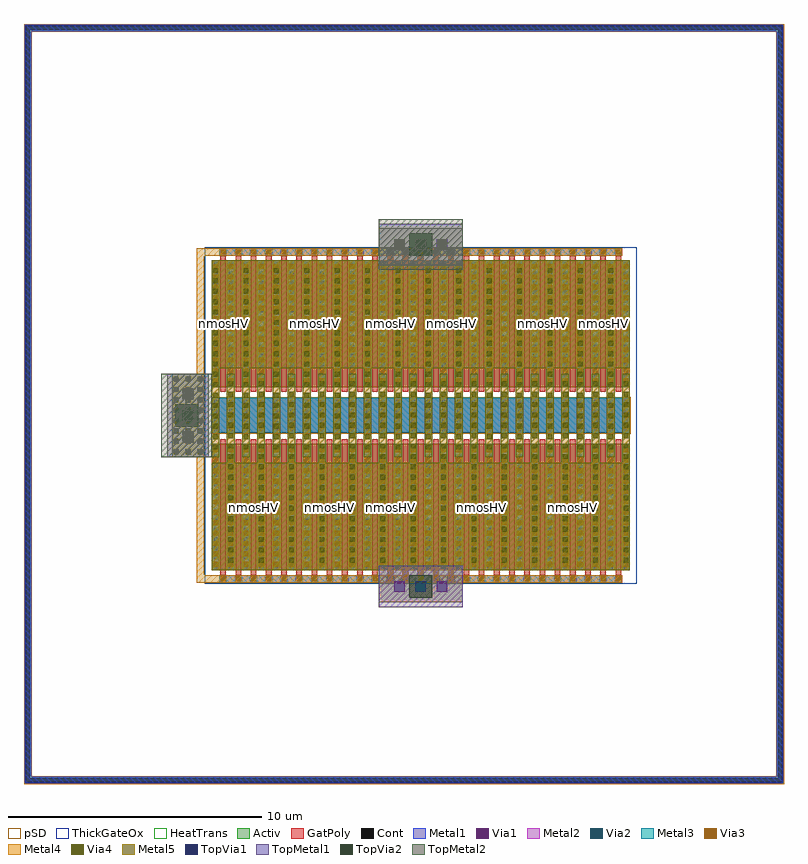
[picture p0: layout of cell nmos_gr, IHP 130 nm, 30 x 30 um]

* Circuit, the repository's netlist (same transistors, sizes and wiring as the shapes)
* Extracted by KLayout with SG13G2 LVS runset on : 16/10/2024 16:00

.SUBCKT nmos_gr S G D 
M1 D G S S sg13_hv_nmos L=0.22u W=5u M=54
.ENDS nmos_gr

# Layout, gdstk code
import gdstk
lib = gdstk.Library(unit=1e-6, precision=1e-09)
def R(c, l, rs):  # rectangles x0, y0, x1, y1
    for r in rs: c.add(gdstk.rectangle(r[:2], r[2:], *l))
def A(c, l, x, y, w, h, nx, ny, dx, dy):  # array of equal rectangles
    R(c, l, [(x+i*dx, y+j*dy, x+i*dx+w, y+j*dy+h) for i in range(nx) for j in range(ny)])
def P(c, l, *ps):  # polygons
    for p in ps: c.add(gdstk.Polygon(p, *l))
Activ = (1, 0)
GatPoly = (5, 0)
Cont = (6, 0)
Metal1 = (8, 0)
Metal2 = (10, 0)
pSD = (14, 0)
Via1 = (19, 0)
Via2 = (29, 0)
Metal3 = (30, 0)
ThickGateOx = (44, 0)
Via3 = (49, 0)
Metal4 = (50, 0)
HeatTrans = (51, 0)
Via4 = (66, 0)
Metal5 = (67, 0)
TopVia1 = (125, 0)
TopMetal1 = (126, 0)
TopVia2 = (133, 0)
TopMetal2 = (134, 0)

gring_1 = lib.new_cell('gring$1')
P(gring_1, Activ, [(0.03,0.03),(0.03,29.72),(0.28,29.72),(0.28,0.28),(29.72,0.28),(29.72,29.72),(0.03,29.72),(0.03,29.97),(29.97,29.97),(29.97,0.03)])
P(gring_1, Cont, [(0.075,0.075),(0.075,29.765),(0.235,29.765),(0.235,0.235),(29.765,0.235),(29.765,29.765),(0.075,29.765),(0.075,29.925),(29.925,29.925),(29.925,0.075)])
P(gring_1, Metal1, [(0.025,0.025),(0.025,29.715),(0.285,29.715),(0.285,0.285),(29.715,0.285),(29.715,29.715),(0.025,29.715),(0.025,29.975),(29.975,29.975),(29.975,0.025)])
P(gring_1, pSD, [(0,0),(0,29.69),(0.31,29.69),(0.31,0.31),(29.69,0.31),(29.69,29.69),(0,29.69),(0,30),(30,30),(30,0)])

nmos_gr = lib.new_cell('nmos_gr')
R(nmos_gr, Activ, [(246.552,-23.306,263.052,-18.306), (246.552,-17.876,263.052,-16.496), (246.552,-16.066,263.052,-11.066)])
P(nmos_gr, GatPoly, [(254.692,-16.246),(254.692,-10.886),(254.652,-10.886),(254.652,-10.586),(254.952,-10.586),(254.952,-10.886),(254.912,-10.886),(254.912,-16.246)],
  [(254.092,-16.246),(254.092,-10.886),(254.052,-10.886),(254.052,-10.586),(254.352,-10.586),(254.352,-10.886),(254.312,-10.886),(254.312,-16.246)],
  [(253.492,-16.246),(253.492,-10.886),(253.452,-10.886),(253.452,-10.586),(253.752,-10.586),(253.752,-10.886),(253.712,-10.886),(253.712,-16.246)],
  [(252.892,-16.246),(252.892,-10.886),(252.852,-10.886),(252.852,-10.586),(253.152,-10.586),(253.152,-10.886),(253.112,-10.886),(253.112,-16.246)],
  [(252.292,-16.246),(252.292,-10.886),(252.252,-10.886),(252.252,-10.586),(252.552,-10.586),(252.552,-10.886),(252.512,-10.886),(252.512,-16.246)],
  [(251.692,-16.246),(251.692,-10.886),(251.652,-10.886),(251.652,-10.586),(251.952,-10.586),(251.952,-10.886),(251.912,-10.886),(251.912,-16.246)],
  [(251.092,-16.246),(251.092,-10.886),(251.052,-10.886),(251.052,-10.586),(251.352,-10.586),(251.352,-10.886),(251.312,-10.886),(251.312,-16.246)],
  [(250.492,-16.246),(250.492,-10.886),(250.452,-10.886),(250.452,-10.586),(250.752,-10.586),(250.752,-10.886),(250.712,-10.886),(250.712,-16.246)],
  [(249.892,-16.246),(249.892,-10.886),(249.852,-10.886),(249.852,-10.586),(250.152,-10.586),(250.152,-10.886),(250.112,-10.886),(250.112,-16.246)],
  [(249.292,-16.246),(249.292,-10.886),(249.252,-10.886),(249.252,-10.586),(249.552,-10.586),(249.552,-10.886),(249.512,-10.886),(249.512,-16.246)],
  [(248.692,-16.246),(248.692,-10.886),(248.652,-10.886),(248.652,-10.586),(248.952,-10.586),(248.952,-10.886),(248.912,-10.886),(248.912,-16.246)],
  [(248.092,-16.246),(248.092,-10.886),(248.052,-10.886),(248.052,-10.586),(248.352,-10.586),(248.352,-10.886),(248.312,-10.886),(248.312,-16.246)],
  [(247.492,-16.246),(247.492,-10.886),(247.452,-10.886),(247.452,-10.586),(247.752,-10.586),(247.752,-10.886),(247.712,-10.886),(247.712,-16.246)],
  [(246.892,-16.246),(246.892,-10.886),(246.852,-10.886),(246.852,-10.586),(247.152,-10.586),(247.152,-10.886),(247.112,-10.886),(247.112,-16.246)],
  [(262.452,-23.786),(262.452,-23.486),(262.492,-23.486),(262.492,-18.126),(262.712,-18.126),(262.712,-23.486),(262.752,-23.486),(262.752,-23.786)],
  [(261.852,-23.786),(261.852,-23.486),(261.892,-23.486),(261.892,-18.126),(262.112,-18.126),(262.112,-23.486),(262.152,-23.486),(262.152,-23.786)],
  [(261.252,-23.786),(261.252,-23.486),(261.292,-23.486),(261.292,-18.126),(261.512,-18.126),(261.512,-23.486),(261.552,-23.486),(261.552,-23.786)],
  [(260.652,-23.786),(260.652,-23.486),(260.692,-23.486),(260.692,-18.126),(260.912,-18.126),(260.912,-23.486),(260.952,-23.486),(260.952,-23.786)],
  [(260.052,-23.786),(260.052,-23.486),(260.092,-23.486),(260.092,-18.126),(260.312,-18.126),(260.312,-23.486),(260.352,-23.486),(260.352,-23.786)],
  [(259.452,-23.786),(259.452,-23.486),(259.492,-23.486),(259.492,-18.126),(259.712,-18.126),(259.712,-23.486),(259.752,-23.486),(259.752,-23.786)],
  [(258.852,-23.786),(258.852,-23.486),(258.892,-23.486),(258.892,-18.126),(259.112,-18.126),(259.112,-23.486),(259.152,-23.486),(259.152,-23.786)],
  [(258.252,-23.786),(258.252,-23.486),(258.292,-23.486),(258.292,-18.126),(258.512,-18.126),(258.512,-23.486),(258.552,-23.486),(258.552,-23.786)],
  [(257.652,-23.786),(257.652,-23.486),(257.692,-23.486),(257.692,-18.126),(257.912,-18.126),(257.912,-23.486),(257.952,-23.486),(257.952,-23.786)],
  [(257.052,-23.786),(257.052,-23.486),(257.092,-23.486),(257.092,-18.126),(257.312,-18.126),(257.312,-23.486),(257.352,-23.486),(257.352,-23.786)],
  [(256.452,-23.786),(256.452,-23.486),(256.492,-23.486),(256.492,-18.126),(256.712,-18.126),(256.712,-23.486),(256.752,-23.486),(256.752,-23.786)],
  [(255.852,-23.786),(255.852,-23.486),(255.892,-23.486),(255.892,-18.126),(256.112,-18.126),(256.112,-23.486),(256.152,-23.486),(256.152,-23.786)],
  [(255.252,-23.786),(255.252,-23.486),(255.292,-23.486),(255.292,-18.126),(255.512,-18.126),(255.512,-23.486),(255.552,-23.486),(255.552,-23.786)],
  [(254.652,-23.786),(254.652,-23.486),(254.692,-23.486),(254.692,-18.126),(254.912,-18.126),(254.912,-23.486),(254.952,-23.486),(254.952,-23.786)],
  [(254.052,-23.786),(254.052,-23.486),(254.092,-23.486),(254.092,-18.126),(254.312,-18.126),(254.312,-23.486),(254.352,-23.486),(254.352,-23.786)],
  [(253.452,-23.786),(253.452,-23.486),(253.492,-23.486),(253.492,-18.126),(253.712,-18.126),(253.712,-23.486),(253.752,-23.486),(253.752,-23.786)],
  [(252.852,-23.786),(252.852,-23.486),(252.892,-23.486),(252.892,-18.126),(253.112,-18.126),(253.112,-23.486),(253.152,-23.486),(253.152,-23.786)],
  [(252.252,-23.786),(252.252,-23.486),(252.292,-23.486),(252.292,-18.126),(252.512,-18.126),(252.512,-23.486),(252.552,-23.486),(252.552,-23.786)],
  [(251.652,-23.786),(251.652,-23.486),(251.692,-23.486),(251.692,-18.126),(251.912,-18.126),(251.912,-23.486),(251.952,-23.486),(251.952,-23.786)],
  [(251.052,-23.786),(251.052,-23.486),(251.092,-23.486),(251.092,-18.126),(251.312,-18.126),(251.312,-23.486),(251.352,-23.486),(251.352,-23.786)],
  [(250.452,-23.786),(250.452,-23.486),(250.492,-23.486),(250.492,-18.126),(250.712,-18.126),(250.712,-23.486),(250.752,-23.486),(250.752,-23.786)],
  [(249.852,-23.786),(249.852,-23.486),(249.892,-23.486),(249.892,-18.126),(250.112,-18.126),(250.112,-23.486),(250.152,-23.486),(250.152,-23.786)],
  [(249.252,-23.786),(249.252,-23.486),(249.292,-23.486),(249.292,-18.126),(249.512,-18.126),(249.512,-23.486),(249.552,-23.486),(249.552,-23.786)],
  [(248.652,-23.786),(248.652,-23.486),(248.692,-23.486),(248.692,-18.126),(248.912,-18.126),(248.912,-23.486),(248.952,-23.486),(248.952,-23.786)],
  [(248.052,-23.786),(248.052,-23.486),(248.092,-23.486),(248.092,-18.126),(248.312,-18.126),(248.312,-23.486),(248.352,-23.486),(248.352,-23.786)],
  [(247.452,-23.786),(247.452,-23.486),(247.492,-23.486),(247.492,-18.126),(247.712,-18.126),(247.712,-23.486),(247.752,-23.486),(247.752,-23.786)],
  [(246.852,-23.786),(246.852,-23.486),(246.892,-23.486),(246.892,-18.126),(247.112,-18.126),(247.112,-23.486),(247.152,-23.486),(247.152,-23.786)],
  [(262.492,-16.246),(262.492,-10.886),(262.452,-10.886),(262.452,-10.586),(262.752,-10.586),(262.752,-10.886),(262.712,-10.886),(262.712,-16.246)],
  [(261.892,-16.246),(261.892,-10.886),(261.852,-10.886),(261.852,-10.586),(262.152,-10.586),(262.152,-10.886),(262.112,-10.886),(262.112,-16.246)],
  [(261.292,-16.246),(261.292,-10.886),(261.252,-10.886),(261.252,-10.586),(261.552,-10.586),(261.552,-10.886),(261.512,-10.886),(261.512,-16.246)],
  [(260.692,-16.246),(260.692,-10.886),(260.652,-10.886),(260.652,-10.586),(260.952,-10.586),(260.952,-10.886),(260.912,-10.886),(260.912,-16.246)],
  [(260.092,-16.246),(260.092,-10.886),(260.052,-10.886),(260.052,-10.586),(260.352,-10.586),(260.352,-10.886),(260.312,-10.886),(260.312,-16.246)],
  [(259.492,-16.246),(259.492,-10.886),(259.452,-10.886),(259.452,-10.586),(259.752,-10.586),(259.752,-10.886),(259.712,-10.886),(259.712,-16.246)],
  [(258.892,-16.246),(258.892,-10.886),(258.852,-10.886),(258.852,-10.586),(259.152,-10.586),(259.152,-10.886),(259.112,-10.886),(259.112,-16.246)],
  [(258.292,-16.246),(258.292,-10.886),(258.252,-10.886),(258.252,-10.586),(258.552,-10.586),(258.552,-10.886),(258.512,-10.886),(258.512,-16.246)],
  [(257.692,-16.246),(257.692,-10.886),(257.652,-10.886),(257.652,-10.586),(257.952,-10.586),(257.952,-10.886),(257.912,-10.886),(257.912,-16.246)],
  [(257.092,-16.246),(257.092,-10.886),(257.052,-10.886),(257.052,-10.586),(257.352,-10.586),(257.352,-10.886),(257.312,-10.886),(257.312,-16.246)],
  [(256.492,-16.246),(256.492,-10.886),(256.452,-10.886),(256.452,-10.586),(256.752,-10.586),(256.752,-10.886),(256.712,-10.886),(256.712,-16.246)],
  [(255.892,-16.246),(255.892,-10.886),(255.852,-10.886),(255.852,-10.586),(256.152,-10.586),(256.152,-10.886),(256.112,-10.886),(256.112,-16.246)],
  [(255.292,-16.246),(255.292,-10.886),(255.252,-10.886),(255.252,-10.586),(255.552,-10.586),(255.552,-10.886),(255.512,-10.886),(255.512,-16.246)])
A(nmos_gr, Cont, 246.922, -23.716, 0.16, 0.16, 27, 2, 0.6, 12.9)
A(nmos_gr, Cont, 246.622, -23.236, 0.16, 0.16, 28, 2, 0.6, 0.365)
A(nmos_gr, Cont, 246.622, -22.511, 0.16, 0.16, 28, 2, 0.6, 0.36)
A(nmos_gr, Cont, 246.622, -21.786, 0.16, 0.16, 28, 3, 0.6, 0.36)
A(nmos_gr, Cont, 246.622, -20.701, 0.16, 0.16, 28, 3, 0.6, 0.36)
A(nmos_gr, Cont, 246.622, -19.616, 0.16, 0.16, 28, 4, 0.6, 0.36)
A(nmos_gr, Cont, 246.622, -17.806, 0.16, 0.16, 28, 4, 0.6, 0.36)
A(nmos_gr, Cont, 246.622, -15.996, 0.16, 0.16, 28, 4, 0.6, 0.36)
A(nmos_gr, Cont, 246.622, -14.551, 0.16, 0.16, 28, 3, 0.6, 0.36)
A(nmos_gr, Cont, 246.622, -13.466, 0.16, 0.16, 28, 3, 0.6, 0.36)
A(nmos_gr, Cont, 246.622, -12.381, 0.16, 0.16, 28, 3, 0.6, 0.36)
A(nmos_gr, Cont, 246.622, -11.296, 0.16, 0.16, 28, 1, 0.6, 0)
A(nmos_gr, Metal1, 246.852, -23.786, 0.3, 0.3, 27, 2, 0.6, 12.9)
A(nmos_gr, Metal1, 246.552, -23.306, 0.3, 5, 28, 2, 0.6, 7.24)
R(nmos_gr, Metal1, [(246.552,-17.876,263.052,-16.496)])
A(nmos_gr, Metal2, 246.552, -23.306, 0.3, 5, 28, 2, 0.6, 7.24)
R(nmos_gr, Metal2, [(246.852,-23.786,262.752,-23.486), (246.552,-17.876,263.052,-16.496), (246.852,-10.886,262.752,-10.586)])
R(nmos_gr, pSD, [(246.522,-17.906,263.082,-16.466)])
A(nmos_gr, Via1, 246.907, -23.731, 0.19, 0.19, 27, 2, 0.6, 12.9)
A(nmos_gr, Via1, 246.607, -23.156, 0.19, 0.19, 28, 12, 0.6, 0.41)
A(nmos_gr, Via1, 246.607, -17.691, 0.19, 0.19, 28, 3, 0.6, 0.41)
A(nmos_gr, Via1, 246.607, -15.916, 0.19, 0.19, 28, 12, 0.6, 0.41)
A(nmos_gr, Via2, 246.907, -23.731, 0.19, 0.19, 27, 2, 0.6, 12.9)
A(nmos_gr, Via2, 246.607, -23.156, 0.19, 0.19, 28, 12, 0.6, 0.41)
A(nmos_gr, Via2, 246.607, -17.691, 0.19, 0.19, 28, 3, 0.6, 0.41)
A(nmos_gr, Via2, 246.607, -15.916, 0.19, 0.19, 28, 12, 0.6, 0.41)
A(nmos_gr, Metal3, 246.552, -23.306, 0.3, 5, 28, 2, 0.6, 7.24)
R(nmos_gr, Metal3, [(246.852,-23.786,262.752,-23.486), (246.552,-17.876,263.052,-16.496), (246.852,-10.886,262.752,-10.586)])
R(nmos_gr, ThickGateOx, [(246.282,-23.826,263.322,-10.546)])
A(nmos_gr, Via3, 246.907, -23.731, 0.19, 0.19, 27, 2, 0.6, 12.9)
A(nmos_gr, Via3, 246.607, -23.156, 0.19, 0.19, 28, 12, 0.6, 0.41)
A(nmos_gr, Via3, 247.207, -17.691, 0.19, 0.19, 14, 3, 1.2, 0.41)
A(nmos_gr, Via3, 246.607, -15.916, 0.19, 0.19, 28, 12, 0.6, 0.41)
A(nmos_gr, Metal4, 246.552, -23.306, 0.3, 12.24, 28, 1, 0.6, 0)
R(nmos_gr, Metal4, [(244.992,-18.836,246.252,-15.536)])
P(nmos_gr, Metal4, [(245.952,-23.786),(245.952,-10.586),(262.752,-10.586),(262.752,-10.886),(246.252,-10.886),(246.252,-23.486),(262.752,-23.486),(262.752,-23.786)])
A(nmos_gr, HeatTrans, 246.892, -23.486, 0.22, 5.36, 27, 2, 0.6, 7.24)
A(nmos_gr, Via4, 247.207, -23.001, 0.19, 0.19, 14, 18, 1.2, 0.41)
A(nmos_gr, Via4, 245.047, -18.716, 0.19, 0.19, 3, 8, 0.48, 0.41)
A(nmos_gr, Via4, 246.607, -18.531, 0.19, 0.19, 14, 18, 1.2, 0.41)
R(nmos_gr, Metal5, [(253.152,-24.566,256.452,-23.306), (244.992,-18.836,246.252,-15.536), (253.152,-11.066,256.452,-9.806)])
P(nmos_gr, Metal5, [(246.552,-18.836),(246.552,-11.066),(263.052,-11.066),(263.052,-15.316),(262.452,-15.316),(262.452,-18.836),(262.152,-18.836),(262.152,-15.316),(261.252,-15.316),(261.252,-18.836),(260.952,-18.836),(260.952,-15.316),(260.052,-15.316),(260.052,-18.836),(259.752,-18.836),(259.752,-15.316),(258.852,-15.316),(258.852,-18.836),(258.552,-18.836),(258.552,-15.316),(257.652,-15.316),(257.652,-18.836),(257.352,-18.836),(257.352,-15.316),(256.452,-15.316),(256.452,-18.836),(256.152,-18.836),(256.152,-15.316),(255.252,-15.316),(255.252,-18.836),(254.952,-18.836),(254.952,-15.316),(254.052,-15.316),(254.052,-18.836),(253.752,-18.836),(253.752,-15.316),(252.852,-15.316),(252.852,-18.836),(252.552,-18.836),(252.552,-15.316),(251.652,-15.316),(251.652,-18.836),(251.352,-18.836),(251.352,-15.316),(250.452,-15.316),(250.452,-18.836),(250.152,-18.836),(250.152,-15.316),(249.252,-15.316),(249.252,-18.836),(248.952,-18.836),(248.952,-15.316),(248.052,-15.316),(248.052,-18.836),(247.752,-18.836),(247.752,-15.316),(246.852,-15.316),(246.852,-18.836)],
  [(246.552,-23.306),(246.552,-19.056),(247.152,-19.056),(247.152,-15.536),(247.452,-15.536),(247.452,-19.056),(248.352,-19.056),(248.352,-15.536),(248.652,-15.536),(248.652,-19.056),(249.552,-19.056),(249.552,-15.536),(249.852,-15.536),(249.852,-19.056),(250.752,-19.056),(250.752,-15.536),(251.052,-15.536),(251.052,-19.056),(251.952,-19.056),(251.952,-15.536),(252.252,-15.536),(252.252,-19.056),(253.152,-19.056),(253.152,-15.536),(253.452,-15.536),(253.452,-19.056),(254.352,-19.056),(254.352,-15.536),(254.652,-15.536),(254.652,-19.056),(255.552,-19.056),(255.552,-15.536),(255.852,-15.536),(255.852,-19.056),(256.752,-19.056),(256.752,-15.536),(257.052,-15.536),(257.052,-19.056),(257.952,-19.056),(257.952,-15.536),(258.252,-15.536),(258.252,-19.056),(259.152,-19.056),(259.152,-15.536),(259.452,-15.536),(259.452,-19.056),(260.352,-19.056),(260.352,-15.536),(260.652,-15.536),(260.652,-19.056),(261.552,-19.056),(261.552,-15.536),(261.852,-15.536),(261.852,-19.056),(262.752,-19.056),(262.752,-15.536),(263.052,-15.536),(263.052,-23.306)])
A(nmos_gr, TopVia1, 253.752, -24.146, 0.42, 0.42, 3, 2, 0.84, 13.5)
A(nmos_gr, TopVia1, 245.412, -18.236, 0.42, 0.42, 1, 3, 0, 0.84)
R(nmos_gr, TopMetal1, [(253.152,-24.756,256.452,-23.116), (244.802,-18.836,246.442,-15.536), (253.152,-11.256,256.452,-9.616)])
R(nmos_gr, TopVia2, [(254.352,-24.386,255.252,-23.486), (245.109,-17.636,246.009,-16.736), (254.352,-10.886,255.252,-9.986)])
R(nmos_gr, TopMetal2, [(244.559,-18.836,246.559,-15.536), (253.152,-11.436,256.452,-9.436)])
nmos_gr.add(gdstk.Reference(gring_1, (239.14,-31.735)))
nmos_gr.add(gdstk.Label('nmosHV', (259.602,-13.566), layer=51, texttype=0))
nmos_gr.add(gdstk.Label('nmosHV', (259.002,-13.566), layer=51, texttype=0))
nmos_gr.add(gdstk.Label('nmosHV', (262.002,-13.566), layer=51, texttype=0))
nmos_gr.add(gdstk.Label('nmosHV', (261.402,-13.566), layer=51, texttype=0))
nmos_gr.add(gdstk.Label('nmosHV', (260.802,-13.566), layer=51, texttype=0))
nmos_gr.add(gdstk.Label('nmosHV', (260.202,-13.566), layer=51, texttype=0))
nmos_gr.add(gdstk.Label('nmosHV', (262.002,-13.566), layer=51, texttype=0))
nmos_gr.add(gdstk.Label('nmosHV', (259.602,-13.566), layer=51, texttype=0))
nmos_gr.add(gdstk.Label('nmosHV', (261.402,-13.566), layer=51, texttype=0))
nmos_gr.add(gdstk.Label('nmosHV', (259.002,-13.566), layer=51, texttype=0))
nmos_gr.add(gdstk.Label('nmosHV', (260.802,-13.566), layer=51, texttype=0))
nmos_gr.add(gdstk.Label('nmosHV', (260.802,-13.566), layer=51, texttype=0))
nmos_gr.add(gdstk.Label('nmosHV', (260.202,-13.566), layer=51, texttype=0))
nmos_gr.add(gdstk.Label('nmosHV', (260.202,-13.566), layer=51, texttype=0))
nmos_gr.add(gdstk.Label('nmosHV', (259.602,-13.566), layer=51, texttype=0))
nmos_gr.add(gdstk.Label('nmosHV', (259.002,-13.566), layer=51, texttype=0))
nmos_gr.add(gdstk.Label('nmosHV', (260.802,-13.566), layer=51, texttype=0))
nmos_gr.add(gdstk.Label('nmosHV', (262.002,-13.566), layer=51, texttype=0))
nmos_gr.add(gdstk.Label('nmosHV', (261.402,-13.566), layer=51, texttype=0))
nmos_gr.add(gdstk.Label('nmosHV', (262.002,-13.566), layer=51, texttype=0))
nmos_gr.add(gdstk.Label('nmosHV', (259.602,-13.566), layer=51, texttype=0))
nmos_gr.add(gdstk.Label('nmosHV', (259.002,-13.566), layer=51, texttype=0))
nmos_gr.add(gdstk.Label('nmosHV', (259.602,-13.566), layer=51, texttype=0))
nmos_gr.add(gdstk.Label('nmosHV', (259.002,-13.566), layer=51, texttype=0))
nmos_gr.add(gdstk.Label('nmosHV', (260.202,-13.566), layer=51, texttype=0))
nmos_gr.add(gdstk.Label('nmosHV', (261.402,-13.566), layer=51, texttype=0))
nmos_gr.add(gdstk.Label('nmosHV', (262.002,-13.566), layer=51, texttype=0))
nmos_gr.add(gdstk.Label('nmosHV', (261.402,-13.566), layer=51, texttype=0))
nmos_gr.add(gdstk.Label('nmosHV', (260.802,-13.566), layer=51, texttype=0))
nmos_gr.add(gdstk.Label('nmosHV', (260.202,-13.566), layer=51, texttype=0))
nmos_gr.add(gdstk.Label('nmosHV', (259.602,-13.566), layer=51, texttype=0))
nmos_gr.add(gdstk.Label('nmosHV', (262.002,-13.566), layer=51, texttype=0))
nmos_gr.add(gdstk.Label('nmosHV', (259.002,-13.566), layer=51, texttype=0))
nmos_gr.add(gdstk.Label('nmosHV', (261.402,-13.566), layer=51, texttype=0))
nmos_gr.add(gdstk.Label('nmosHV', (260.802,-13.566), layer=51, texttype=0))
nmos_gr.add(gdstk.Label('nmosHV', (260.202,-13.566), layer=51, texttype=0))
nmos_gr.add(gdstk.Label('nmosHV', (256.002,-13.566), layer=51, texttype=0))
nmos_gr.add(gdstk.Label('nmosHV', (257.802,-13.566), layer=51, texttype=0))
nmos_gr.add(gdstk.Label('nmosHV', (258.402,-13.566), layer=51, texttype=0))
nmos_gr.add(gdstk.Label('nmosHV', (257.802,-13.566), layer=51, texttype=0))
nmos_gr.add(gdstk.Label('nmosHV', (257.802,-13.566), layer=51, texttype=0))
nmos_gr.add(gdstk.Label('nmosHV', (257.202,-13.566), layer=51, texttype=0))
nmos_gr.add(gdstk.Label('nmosHV', (257.202,-13.566), layer=51, texttype=0))
nmos_gr.add(gdstk.Label('nmosHV', (258.402,-13.566), layer=51, texttype=0))
nmos_gr.add(gdstk.Label('nmosHV', (255.402,-13.566), layer=51, texttype=0))
nmos_gr.add(gdstk.Label('nmosHV', (255.402,-13.566), layer=51, texttype=0))
nmos_gr.add(gdstk.Label('nmosHV', (256.002,-13.566), layer=51, texttype=0))
nmos_gr.add(gdstk.Label('nmosHV', (255.402,-13.566), layer=51, texttype=0))
nmos_gr.add(gdstk.Label('nmosHV', (255.402,-13.566), layer=51, texttype=0))
nmos_gr.add(gdstk.Label('nmosHV', (258.402,-13.566), layer=51, texttype=0))
nmos_gr.add(gdstk.Label('nmosHV', (255.402,-13.566), layer=51, texttype=0))
nmos_gr.add(gdstk.Label('nmosHV', (255.402,-13.566), layer=51, texttype=0))
nmos_gr.add(gdstk.Label('nmosHV', (256.602,-13.566), layer=51, texttype=0))
nmos_gr.add(gdstk.Label('nmosHV', (257.802,-13.566), layer=51, texttype=0))
nmos_gr.add(gdstk.Label('nmosHV', (256.002,-13.566), layer=51, texttype=0))
nmos_gr.add(gdstk.Label('nmosHV', (256.602,-13.566), layer=51, texttype=0))
nmos_gr.add(gdstk.Label('nmosHV', (257.202,-13.566), layer=51, texttype=0))
nmos_gr.add(gdstk.Label('nmosHV', (256.602,-13.566), layer=51, texttype=0))
nmos_gr.add(gdstk.Label('nmosHV', (256.002,-13.566), layer=51, texttype=0))
nmos_gr.add(gdstk.Label('nmosHV', (256.002,-13.566), layer=51, texttype=0))
nmos_gr.add(gdstk.Label('nmosHV', (257.202,-13.566), layer=51, texttype=0))
nmos_gr.add(gdstk.Label('nmosHV', (258.402,-13.566), layer=51, texttype=0))
nmos_gr.add(gdstk.Label('nmosHV', (256.602,-13.566), layer=51, texttype=0))
nmos_gr.add(gdstk.Label('nmosHV', (258.402,-13.566), layer=51, texttype=0))
nmos_gr.add(gdstk.Label('nmosHV', (256.002,-13.566), layer=51, texttype=0))
nmos_gr.add(gdstk.Label('nmosHV', (257.802,-13.566), layer=51, texttype=0))
nmos_gr.add(gdstk.Label('nmosHV', (257.202,-13.566), layer=51, texttype=0))
nmos_gr.add(gdstk.Label('nmosHV', (258.402,-13.566), layer=51, texttype=0))
nmos_gr.add(gdstk.Label('nmosHV', (256.602,-13.566), layer=51, texttype=0))
nmos_gr.add(gdstk.Label('nmosHV', (257.802,-13.566), layer=51, texttype=0))
nmos_gr.add(gdstk.Label('nmosHV', (256.602,-13.566), layer=51, texttype=0))
nmos_gr.add(gdstk.Label('nmosHV', (257.202,-13.566), layer=51, texttype=0))
nmos_gr.add(gdstk.Label('nmosHV', (254.802,-13.566), layer=51, texttype=0))
nmos_gr.add(gdstk.Label('nmosHV', (254.802,-13.566), layer=51, texttype=0))
nmos_gr.add(gdstk.Label('nmosHV', (254.802,-13.566), layer=51, texttype=0))
nmos_gr.add(gdstk.Label('nmosHV', (254.802,-13.566), layer=51, texttype=0))
nmos_gr.add(gdstk.Label('nmosHV', (254.802,-13.566), layer=51, texttype=0))
nmos_gr.add(gdstk.Label('nmosHV', (254.802,-13.566), layer=51, texttype=0))
nmos_gr.add(gdstk.Label('nmosHV', (247.002,-13.566), layer=51, texttype=0))
nmos_gr.add(gdstk.Label('nmosHV', (248.802,-13.566), layer=51, texttype=0))
nmos_gr.add(gdstk.Label('nmosHV', (248.202,-13.566), layer=51, texttype=0))
nmos_gr.add(gdstk.Label('nmosHV', (250.602,-13.566), layer=51, texttype=0))
nmos_gr.add(gdstk.Label('nmosHV', (253.602,-13.566), layer=51, texttype=0))
nmos_gr.add(gdstk.Label('nmosHV', (251.202,-13.566), layer=51, texttype=0))
nmos_gr.add(gdstk.Label('nmosHV', (251.802,-13.566), layer=51, texttype=0))
nmos_gr.add(gdstk.Label('nmosHV', (252.402,-13.566), layer=51, texttype=0))
nmos_gr.add(gdstk.Label('nmosHV', (252.402,-13.566), layer=51, texttype=0))
nmos_gr.add(gdstk.Label('nmosHV', (253.002,-13.566), layer=51, texttype=0))
nmos_gr.add(gdstk.Label('nmosHV', (251.202,-13.566), layer=51, texttype=0))
nmos_gr.add(gdstk.Label('nmosHV', (252.402,-13.566), layer=51, texttype=0))
nmos_gr.add(gdstk.Label('nmosHV', (253.002,-13.566), layer=51, texttype=0))
nmos_gr.add(gdstk.Label('nmosHV', (251.802,-13.566), layer=51, texttype=0))
nmos_gr.add(gdstk.Label('nmosHV', (251.202,-13.566), layer=51, texttype=0))
nmos_gr.add(gdstk.Label('nmosHV', (252.402,-13.566), layer=51, texttype=0))
nmos_gr.add(gdstk.Label('nmosHV', (251.202,-13.566), layer=51, texttype=0))
nmos_gr.add(gdstk.Label('nmosHV', (253.602,-13.566), layer=51, texttype=0))
nmos_gr.add(gdstk.Label('nmosHV', (251.802,-13.566), layer=51, texttype=0))
nmos_gr.add(gdstk.Label('nmosHV', (252.402,-13.566), layer=51, texttype=0))
nmos_gr.add(gdstk.Label('nmosHV', (251.802,-13.566), layer=51, texttype=0))
nmos_gr.add(gdstk.Label('nmosHV', (253.602,-13.566), layer=51, texttype=0))
nmos_gr.add(gdstk.Label('nmosHV', (251.802,-13.566), layer=51, texttype=0))
nmos_gr.add(gdstk.Label('nmosHV', (252.402,-13.566), layer=51, texttype=0))
nmos_gr.add(gdstk.Label('nmosHV', (251.202,-13.566), layer=51, texttype=0))
nmos_gr.add(gdstk.Label('nmosHV', (253.002,-13.566), layer=51, texttype=0))
nmos_gr.add(gdstk.Label('nmosHV', (253.602,-13.566), layer=51, texttype=0))
nmos_gr.add(gdstk.Label('nmosHV', (253.002,-13.566), layer=51, texttype=0))
nmos_gr.add(gdstk.Label('nmosHV', (253.602,-13.566), layer=51, texttype=0))
nmos_gr.add(gdstk.Label('nmosHV', (253.002,-13.566), layer=51, texttype=0))
nmos_gr.add(gdstk.Label('nmosHV', (251.802,-13.566), layer=51, texttype=0))
nmos_gr.add(gdstk.Label('nmosHV', (253.602,-13.566), layer=51, texttype=0))
nmos_gr.add(gdstk.Label('nmosHV', (251.202,-13.566), layer=51, texttype=0))
nmos_gr.add(gdstk.Label('nmosHV', (253.002,-13.566), layer=51, texttype=0))
nmos_gr.add(gdstk.Label('nmosHV', (254.202,-13.566), layer=51, texttype=0))
nmos_gr.add(gdstk.Label('nmosHV', (254.202,-13.566), layer=51, texttype=0))
nmos_gr.add(gdstk.Label('nmosHV', (249.402,-13.566), layer=51, texttype=0))
nmos_gr.add(gdstk.Label('nmosHV', (254.202,-13.566), layer=51, texttype=0))
nmos_gr.add(gdstk.Label('nmosHV', (250.602,-13.566), layer=51, texttype=0))
nmos_gr.add(gdstk.Label('nmosHV', (248.802,-13.566), layer=51, texttype=0))
nmos_gr.add(gdstk.Label('nmosHV', (248.802,-13.566), layer=51, texttype=0))
nmos_gr.add(gdstk.Label('nmosHV', (247.002,-13.566), layer=51, texttype=0))
nmos_gr.add(gdstk.Label('nmosHV', (254.202,-13.566), layer=51, texttype=0))
nmos_gr.add(gdstk.Label('nmosHV', (250.002,-13.566), layer=51, texttype=0))
nmos_gr.add(gdstk.Label('nmosHV', (254.202,-13.566), layer=51, texttype=0))
nmos_gr.add(gdstk.Label('nmosHV', (254.202,-13.566), layer=51, texttype=0))
nmos_gr.add(gdstk.Label('nmosHV', (248.202,-13.566), layer=51, texttype=0))
nmos_gr.add(gdstk.Label('nmosHV', (249.402,-13.566), layer=51, texttype=0))
nmos_gr.add(gdstk.Label('nmosHV', (247.602,-13.566), layer=51, texttype=0))
nmos_gr.add(gdstk.Label('nmosHV', (249.402,-13.566), layer=51, texttype=0))
nmos_gr.add(gdstk.Label('nmosHV', (249.402,-13.566), layer=51, texttype=0))
nmos_gr.add(gdstk.Label('nmosHV', (248.202,-13.566), layer=51, texttype=0))
nmos_gr.add(gdstk.Label('nmosHV', (250.602,-13.566), layer=51, texttype=0))
nmos_gr.add(gdstk.Label('nmosHV', (248.202,-13.566), layer=51, texttype=0))
nmos_gr.add(gdstk.Label('nmosHV', (250.602,-13.566), layer=51, texttype=0))
nmos_gr.add(gdstk.Label('nmosHV', (247.602,-13.566), layer=51, texttype=0))
nmos_gr.add(gdstk.Label('nmosHV', (250.002,-13.566), layer=51, texttype=0))
nmos_gr.add(gdstk.Label('nmosHV', (249.402,-13.566), layer=51, texttype=0))
nmos_gr.add(gdstk.Label('nmosHV', (250.602,-13.566), layer=51, texttype=0))
nmos_gr.add(gdstk.Label('nmosHV', (248.802,-13.566), layer=51, texttype=0))
nmos_gr.add(gdstk.Label('nmosHV', (247.602,-13.566), layer=51, texttype=0))
nmos_gr.add(gdstk.Label('nmosHV', (248.802,-13.566), layer=51, texttype=0))
nmos_gr.add(gdstk.Label('nmosHV', (247.002,-13.566), layer=51, texttype=0))
nmos_gr.add(gdstk.Label('nmosHV', (247.602,-13.566), layer=51, texttype=0))
nmos_gr.add(gdstk.Label('nmosHV', (247.002,-13.566), layer=51, texttype=0))
nmos_gr.add(gdstk.Label('nmosHV', (250.002,-13.566), layer=51, texttype=0))
nmos_gr.add(gdstk.Label('nmosHV', (250.002,-13.566), layer=51, texttype=0))
nmos_gr.add(gdstk.Label('nmosHV', (247.002,-13.566), layer=51, texttype=0))
nmos_gr.add(gdstk.Label('nmosHV', (249.402,-13.566), layer=51, texttype=0))
nmos_gr.add(gdstk.Label('nmosHV', (250.602,-13.566), layer=51, texttype=0))
nmos_gr.add(gdstk.Label('nmosHV', (250.002,-13.566), layer=51, texttype=0))
nmos_gr.add(gdstk.Label('nmosHV', (248.202,-13.566), layer=51, texttype=0))
nmos_gr.add(gdstk.Label('nmosHV', (247.602,-13.566), layer=51, texttype=0))
nmos_gr.add(gdstk.Label('nmosHV', (247.002,-13.566), layer=51, texttype=0))
nmos_gr.add(gdstk.Label('nmosHV', (248.802,-13.566), layer=51, texttype=0))
nmos_gr.add(gdstk.Label('nmosHV', (250.002,-13.566), layer=51, texttype=0))
nmos_gr.add(gdstk.Label('nmosHV', (247.602,-13.566), layer=51, texttype=0))
nmos_gr.add(gdstk.Label('nmosHV', (248.202,-13.566), layer=51, texttype=0))
nmos_gr.add(gdstk.Label('nmosHV', (253.602,-20.806), layer=51, texttype=0))
nmos_gr.add(gdstk.Label('nmosHV', (254.202,-20.806), layer=51, texttype=0))
nmos_gr.add(gdstk.Label('nmosHV', (251.802,-20.806), layer=51, texttype=0))
nmos_gr.add(gdstk.Label('nmosHV', (254.202,-20.806), layer=51, texttype=0))
nmos_gr.add(gdstk.Label('nmosHV', (253.002,-20.806), layer=51, texttype=0))
nmos_gr.add(gdstk.Label('nmosHV', (253.602,-20.806), layer=51, texttype=0))
nmos_gr.add(gdstk.Label('nmosHV', (254.202,-20.806), layer=51, texttype=0))
nmos_gr.add(gdstk.Label('nmosHV', (251.202,-20.806), layer=51, texttype=0))
nmos_gr.add(gdstk.Label('nmosHV', (253.002,-20.806), layer=51, texttype=0))
nmos_gr.add(gdstk.Label('nmosHV', (251.202,-20.806), layer=51, texttype=0))
nmos_gr.add(gdstk.Label('nmosHV', (249.402,-20.806), layer=51, texttype=0))
nmos_gr.add(gdstk.Label('nmosHV', (250.602,-20.806), layer=51, texttype=0))
nmos_gr.add(gdstk.Label('nmosHV', (248.202,-20.806), layer=51, texttype=0))
nmos_gr.add(gdstk.Label('nmosHV', (247.602,-20.806), layer=51, texttype=0))
nmos_gr.add(gdstk.Label('nmosHV', (247.602,-20.806), layer=51, texttype=0))
nmos_gr.add(gdstk.Label('nmosHV', (250.002,-20.806), layer=51, texttype=0))
nmos_gr.add(gdstk.Label('nmosHV', (248.802,-20.806), layer=51, texttype=0))
nmos_gr.add(gdstk.Label('nmosHV', (250.002,-20.806), layer=51, texttype=0))
nmos_gr.add(gdstk.Label('nmosHV', (247.002,-20.806), layer=51, texttype=0))
nmos_gr.add(gdstk.Label('nmosHV', (248.202,-20.806), layer=51, texttype=0))
nmos_gr.add(gdstk.Label('nmosHV', (250.602,-20.806), layer=51, texttype=0))
nmos_gr.add(gdstk.Label('nmosHV', (248.802,-20.806), layer=51, texttype=0))
nmos_gr.add(gdstk.Label('nmosHV', (248.202,-20.806), layer=51, texttype=0))
nmos_gr.add(gdstk.Label('nmosHV', (250.002,-20.806), layer=51, texttype=0))
nmos_gr.add(gdstk.Label('nmosHV', (249.402,-20.806), layer=51, texttype=0))
nmos_gr.add(gdstk.Label('nmosHV', (250.602,-20.806), layer=51, texttype=0))
nmos_gr.add(gdstk.Label('nmosHV', (249.402,-20.806), layer=51, texttype=0))
nmos_gr.add(gdstk.Label('nmosHV', (250.002,-20.806), layer=51, texttype=0))
nmos_gr.add(gdstk.Label('nmosHV', (247.002,-20.806), layer=51, texttype=0))
nmos_gr.add(gdstk.Label('nmosHV', (249.402,-20.806), layer=51, texttype=0))
nmos_gr.add(gdstk.Label('nmosHV', (248.802,-20.806), layer=51, texttype=0))
nmos_gr.add(gdstk.Label('nmosHV', (248.802,-20.806), layer=51, texttype=0))
nmos_gr.add(gdstk.Label('nmosHV', (248.802,-20.806), layer=51, texttype=0))
nmos_gr.add(gdstk.Label('nmosHV', (247.602,-20.806), layer=51, texttype=0))
nmos_gr.add(gdstk.Label('nmosHV', (250.002,-20.806), layer=51, texttype=0))
nmos_gr.add(gdstk.Label('nmosHV', (249.402,-20.806), layer=51, texttype=0))
nmos_gr.add(gdstk.Label('nmosHV', (248.802,-20.806), layer=51, texttype=0))
nmos_gr.add(gdstk.Label('nmosHV', (250.602,-20.806), layer=51, texttype=0))
nmos_gr.add(gdstk.Label('nmosHV', (247.002,-20.806), layer=51, texttype=0))
nmos_gr.add(gdstk.Label('nmosHV', (250.602,-20.806), layer=51, texttype=0))
nmos_gr.add(gdstk.Label('nmosHV', (247.002,-20.806), layer=51, texttype=0))
nmos_gr.add(gdstk.Label('nmosHV', (247.602,-20.806), layer=51, texttype=0))
nmos_gr.add(gdstk.Label('nmosHV', (247.602,-20.806), layer=51, texttype=0))
nmos_gr.add(gdstk.Label('nmosHV', (248.202,-20.806), layer=51, texttype=0))
nmos_gr.add(gdstk.Label('nmosHV', (250.002,-20.806), layer=51, texttype=0))
nmos_gr.add(gdstk.Label('nmosHV', (250.602,-20.806), layer=51, texttype=0))
nmos_gr.add(gdstk.Label('nmosHV', (247.002,-20.806), layer=51, texttype=0))
nmos_gr.add(gdstk.Label('nmosHV', (247.002,-20.806), layer=51, texttype=0))
nmos_gr.add(gdstk.Label('nmosHV', (248.202,-20.806), layer=51, texttype=0))
nmos_gr.add(gdstk.Label('nmosHV', (249.402,-20.806), layer=51, texttype=0))
nmos_gr.add(gdstk.Label('nmosHV', (248.202,-20.806), layer=51, texttype=0))
nmos_gr.add(gdstk.Label('nmosHV', (247.602,-20.806), layer=51, texttype=0))
nmos_gr.add(gdstk.Label('nmosHV', (252.402,-20.806), layer=51, texttype=0))
nmos_gr.add(gdstk.Label('nmosHV', (254.202,-20.806), layer=51, texttype=0))
nmos_gr.add(gdstk.Label('nmosHV', (251.802,-20.806), layer=51, texttype=0))
nmos_gr.add(gdstk.Label('nmosHV', (253.602,-20.806), layer=51, texttype=0))
nmos_gr.add(gdstk.Label('nmosHV', (252.402,-20.806), layer=51, texttype=0))
nmos_gr.add(gdstk.Label('nmosHV', (251.202,-20.806), layer=51, texttype=0))
nmos_gr.add(gdstk.Label('nmosHV', (253.002,-20.806), layer=51, texttype=0))
nmos_gr.add(gdstk.Label('nmosHV', (252.402,-20.806), layer=51, texttype=0))
nmos_gr.add(gdstk.Label('nmosHV', (253.602,-20.806), layer=51, texttype=0))
nmos_gr.add(gdstk.Label('nmosHV', (251.202,-20.806), layer=51, texttype=0))
nmos_gr.add(gdstk.Label('nmosHV', (253.602,-20.806), layer=51, texttype=0))
nmos_gr.add(gdstk.Label('nmosHV', (251.802,-20.806), layer=51, texttype=0))
nmos_gr.add(gdstk.Label('nmosHV', (253.002,-20.806), layer=51, texttype=0))
nmos_gr.add(gdstk.Label('nmosHV', (251.802,-20.806), layer=51, texttype=0))
nmos_gr.add(gdstk.Label('nmosHV', (253.002,-20.806), layer=51, texttype=0))
nmos_gr.add(gdstk.Label('nmosHV', (251.202,-20.806), layer=51, texttype=0))
nmos_gr.add(gdstk.Label('nmosHV', (253.602,-20.806), layer=51, texttype=0))
nmos_gr.add(gdstk.Label('nmosHV', (251.802,-20.806), layer=51, texttype=0))
nmos_gr.add(gdstk.Label('nmosHV', (254.202,-20.806), layer=51, texttype=0))
nmos_gr.add(gdstk.Label('nmosHV', (252.402,-20.806), layer=51, texttype=0))
nmos_gr.add(gdstk.Label('nmosHV', (252.402,-20.806), layer=51, texttype=0))
nmos_gr.add(gdstk.Label('nmosHV', (251.802,-20.806), layer=51, texttype=0))
nmos_gr.add(gdstk.Label('nmosHV', (253.002,-20.806), layer=51, texttype=0))
nmos_gr.add(gdstk.Label('nmosHV', (251.202,-20.806), layer=51, texttype=0))
nmos_gr.add(gdstk.Label('nmosHV', (252.402,-20.806), layer=51, texttype=0))
nmos_gr.add(gdstk.Label('nmosHV', (254.202,-20.806), layer=51, texttype=0))
nmos_gr.add(gdstk.Label('nmosHV', (254.802,-20.806), layer=51, texttype=0))
nmos_gr.add(gdstk.Label('nmosHV', (260.802,-20.806), layer=51, texttype=0))
nmos_gr.add(gdstk.Label('nmosHV', (257.202,-20.806), layer=51, texttype=0))
nmos_gr.add(gdstk.Label('nmosHV', (259.602,-20.806), layer=51, texttype=0))
nmos_gr.add(gdstk.Label('nmosHV', (254.802,-20.806), layer=51, texttype=0))
nmos_gr.add(gdstk.Label('nmosHV', (260.802,-20.806), layer=51, texttype=0))
nmos_gr.add(gdstk.Label('nmosHV', (255.402,-20.806), layer=51, texttype=0))
nmos_gr.add(gdstk.Label('nmosHV', (260.202,-20.806), layer=51, texttype=0))
nmos_gr.add(gdstk.Label('nmosHV', (254.802,-20.806), layer=51, texttype=0))
nmos_gr.add(gdstk.Label('nmosHV', (259.002,-20.806), layer=51, texttype=0))
nmos_gr.add(gdstk.Label('nmosHV', (256.002,-20.806), layer=51, texttype=0))
nmos_gr.add(gdstk.Label('nmosHV', (260.202,-20.806), layer=51, texttype=0))
nmos_gr.add(gdstk.Label('nmosHV', (254.802,-20.806), layer=51, texttype=0))
nmos_gr.add(gdstk.Label('nmosHV', (262.002,-20.806), layer=51, texttype=0))
nmos_gr.add(gdstk.Label('nmosHV', (257.202,-20.806), layer=51, texttype=0))
nmos_gr.add(gdstk.Label('nmosHV', (259.602,-20.806), layer=51, texttype=0))
nmos_gr.add(gdstk.Label('nmosHV', (257.202,-20.806), layer=51, texttype=0))
nmos_gr.add(gdstk.Label('nmosHV', (261.402,-20.806), layer=51, texttype=0))
nmos_gr.add(gdstk.Label('nmosHV', (258.402,-20.806), layer=51, texttype=0))
nmos_gr.add(gdstk.Label('nmosHV', (260.202,-20.806), layer=51, texttype=0))
nmos_gr.add(gdstk.Label('nmosHV', (256.602,-20.806), layer=51, texttype=0))
nmos_gr.add(gdstk.Label('nmosHV', (259.602,-20.806), layer=51, texttype=0))
nmos_gr.add(gdstk.Label('nmosHV', (256.602,-20.806), layer=51, texttype=0))
nmos_gr.add(gdstk.Label('nmosHV', (262.002,-20.806), layer=51, texttype=0))
nmos_gr.add(gdstk.Label('nmosHV', (258.402,-20.806), layer=51, texttype=0))
nmos_gr.add(gdstk.Label('nmosHV', (262.002,-20.806), layer=51, texttype=0))
nmos_gr.add(gdstk.Label('nmosHV', (256.002,-20.806), layer=51, texttype=0))
nmos_gr.add(gdstk.Label('nmosHV', (262.002,-20.806), layer=51, texttype=0))
nmos_gr.add(gdstk.Label('nmosHV', (257.802,-20.806), layer=51, texttype=0))
nmos_gr.add(gdstk.Label('nmosHV', (261.402,-20.806), layer=51, texttype=0))
nmos_gr.add(gdstk.Label('nmosHV', (258.402,-20.806), layer=51, texttype=0))
nmos_gr.add(gdstk.Label('nmosHV', (260.802,-20.806), layer=51, texttype=0))
nmos_gr.add(gdstk.Label('nmosHV', (255.402,-20.806), layer=51, texttype=0))
nmos_gr.add(gdstk.Label('nmosHV', (262.002,-20.806), layer=51, texttype=0))
nmos_gr.add(gdstk.Label('nmosHV', (257.802,-20.806), layer=51, texttype=0))
nmos_gr.add(gdstk.Label('nmosHV', (259.602,-20.806), layer=51, texttype=0))
nmos_gr.add(gdstk.Label('nmosHV', (256.002,-20.806), layer=51, texttype=0))
nmos_gr.add(gdstk.Label('nmosHV', (259.002,-20.806), layer=51, texttype=0))
nmos_gr.add(gdstk.Label('nmosHV', (257.202,-20.806), layer=51, texttype=0))
nmos_gr.add(gdstk.Label('nmosHV', (261.402,-20.806), layer=51, texttype=0))
nmos_gr.add(gdstk.Label('nmosHV', (255.402,-20.806), layer=51, texttype=0))
nmos_gr.add(gdstk.Label('nmosHV', (259.002,-20.806), layer=51, texttype=0))
nmos_gr.add(gdstk.Label('nmosHV', (256.602,-20.806), layer=51, texttype=0))
nmos_gr.add(gdstk.Label('nmosHV', (260.802,-20.806), layer=51, texttype=0))
nmos_gr.add(gdstk.Label('nmosHV', (258.402,-20.806), layer=51, texttype=0))
nmos_gr.add(gdstk.Label('nmosHV', (259.002,-20.806), layer=51, texttype=0))
nmos_gr.add(gdstk.Label('nmosHV', (256.002,-20.806), layer=51, texttype=0))
nmos_gr.add(gdstk.Label('nmosHV', (260.802,-20.806), layer=51, texttype=0))
nmos_gr.add(gdstk.Label('nmosHV', (255.402,-20.806), layer=51, texttype=0))
nmos_gr.add(gdstk.Label('nmosHV', (260.202,-20.806), layer=51, texttype=0))
nmos_gr.add(gdstk.Label('nmosHV', (258.402,-20.806), layer=51, texttype=0))
nmos_gr.add(gdstk.Label('nmosHV', (259.602,-20.806), layer=51, texttype=0))
nmos_gr.add(gdstk.Label('nmosHV', (257.802,-20.806), layer=51, texttype=0))
nmos_gr.add(gdstk.Label('nmosHV', (259.002,-20.806), layer=51, texttype=0))
nmos_gr.add(gdstk.Label('nmosHV', (256.602,-20.806), layer=51, texttype=0))
nmos_gr.add(gdstk.Label('nmosHV', (260.802,-20.806), layer=51, texttype=0))
nmos_gr.add(gdstk.Label('nmosHV', (257.802,-20.806), layer=51, texttype=0))
nmos_gr.add(gdstk.Label('nmosHV', (259.002,-20.806), layer=51, texttype=0))
nmos_gr.add(gdstk.Label('nmosHV', (256.602,-20.806), layer=51, texttype=0))
nmos_gr.add(gdstk.Label('nmosHV', (260.202,-20.806), layer=51, texttype=0))
nmos_gr.add(gdstk.Label('nmosHV', (255.402,-20.806), layer=51, texttype=0))
nmos_gr.add(gdstk.Label('nmosHV', (256.002,-20.806), layer=51, texttype=0))
nmos_gr.add(gdstk.Label('nmosHV', (257.202,-20.806), layer=51, texttype=0))
nmos_gr.add(gdstk.Label('nmosHV', (257.802,-20.806), layer=51, texttype=0))
nmos_gr.add(gdstk.Label('nmosHV', (258.402,-20.806), layer=51, texttype=0))
nmos_gr.add(gdstk.Label('nmosHV', (256.002,-20.806), layer=51, texttype=0))
nmos_gr.add(gdstk.Label('nmosHV', (257.202,-20.806), layer=51, texttype=0))
nmos_gr.add(gdstk.Label('nmosHV', (262.002,-20.806), layer=51, texttype=0))
nmos_gr.add(gdstk.Label('nmosHV', (255.402,-20.806), layer=51, texttype=0))
nmos_gr.add(gdstk.Label('nmosHV', (260.202,-20.806), layer=51, texttype=0))
nmos_gr.add(gdstk.Label('nmosHV', (254.802,-20.806), layer=51, texttype=0))
nmos_gr.add(gdstk.Label('nmosHV', (261.402,-20.806), layer=51, texttype=0))
nmos_gr.add(gdstk.Label('nmosHV', (257.802,-20.806), layer=51, texttype=0))
nmos_gr.add(gdstk.Label('nmosHV', (261.402,-20.806), layer=51, texttype=0))
nmos_gr.add(gdstk.Label('nmosHV', (254.802,-20.806), layer=51, texttype=0))
nmos_gr.add(gdstk.Label('nmosHV', (259.602,-20.806), layer=51, texttype=0))
nmos_gr.add(gdstk.Label('nmosHV', (256.602,-20.806), layer=51, texttype=0))
nmos_gr.add(gdstk.Label('nmosHV', (261.402,-20.806), layer=51, texttype=0))

lib.write_gds('nmos_gr.gds')
